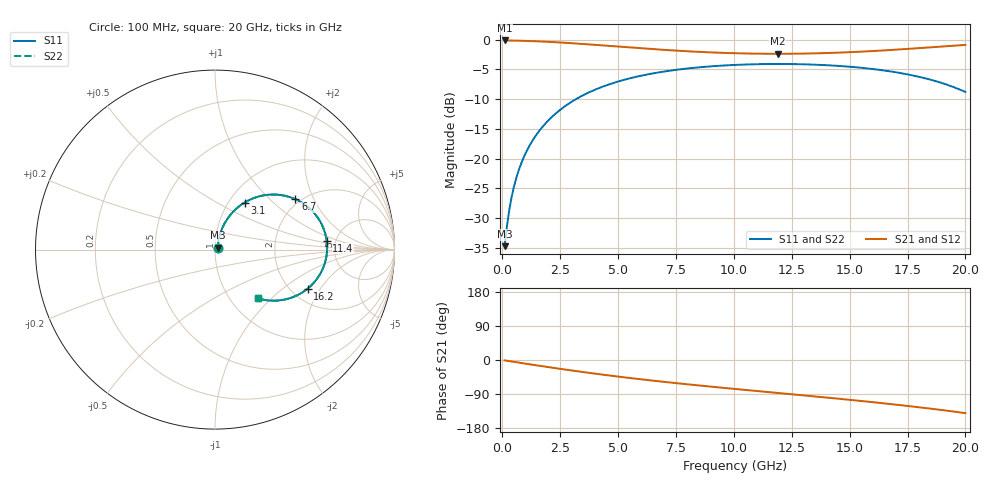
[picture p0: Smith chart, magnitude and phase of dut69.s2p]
! Touchstone file exported from HFSS 2026.1.0
!  File:  C:/ffzhzh/LocalFiles/Ansys_Project_Files/temp_train_TSV_RDL_69_1782969488_45308.aedt
!  Generated:  01:30:05 PM Jul  2, 2026
!  Design:  TSV_RDL
!  Project:  temp_train_TSV_RDL_69_1782969488_45308
! Variables:
!  h_bsmrdl = 2.56um
!  h_ox = 20um
!  h_rdl = 5um
!  h_sub = 90.95um
!  h_tmrdl = 4.26um
!  h_tsv = 90.95um
!  h_via = 3um
!  l_bsmrdl = 205.46um
!  l_sub = 2278.3um
!  l_tmrdl = 293.64um
!  m_sub = 200um
!  pitch = 57.45um
!  r_tsv = 7.46um
!  s_tmrdl = 10um
!  w_bsmrdl = 14.34um
!  w_sub = 500um
!  w_tmrdl = 14.78um
!  x_tsv_center1 = 301.03um
!  x_tsv_center2 = 520.83um
!  x_tsv_center3 = 829.25um
!  x_tsv_center4 = 1049.05um
!  x_tsv_center5 = 1357.47um
!  x_tsv_center6 = 1577.27um
# GHz S MA R 50.000000
! Terminal data exported
! Port[1] = TM_RDL1_1_T1
! Port[2] = TM_RDL5_1_T1
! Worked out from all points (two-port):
!   200 points, 100 MHz to 20 GHz, reference 50 ohm
!   highest |S21| = -0.13 dB at 100 MHz (marker M1); lowest = -2.4 dB at 11.9 GHz (marker M2)
!   |S21| within 3 dB of the highest: start of sweep to end of sweep
!   lowest |S11| = -34.7 dB at 100 MHz (marker M3), VSWR 1.04, Z = 51.5 + j1.14 ohm
!   |S11| at or under -10 dB: start of sweep to 3.183 GHz
!   |S22| runs from -34.7 to -4.1 dB; largest |S21 - S12| = 1.5e-14
!   S11 on the Smith chart (normalised r, x): 100 MHz: 1.03, +0.02; 3.1 GHz: 1.18, +0.68; 6.7 GHz: 1.88, +1.46; 11.4 GHz: 4.20, +0.69; 16.2 GHz: 2.45, -1.55; 20 GHz: 1.33, -0.84
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0.1  0.01833 37.3  0.9855 -1.0  0.9855 -1.0  0.01833 37.3
! Gamma 0 0 0 0
! Port Impedance 50 0 50 0
0.2  0.02691 55.1  0.9851 -2.0  0.9851 -2.0  0.02691 55.1
0.3  0.03683 63.2  0.9845 -2.9  0.9845 -2.9  0.03683 63.2
0.5  0.05762 69.6  0.983 -4.9  0.983 -4.9  0.05762 69.6
0.7  0.07869 71.5  0.9811 -6.8  0.9811 -6.8  0.07869 71.5
1  0.1101 71.7  0.9775 -9.6  0.9775 -9.6  0.1101 71.7
1.4  0.1513 70.1  0.9714 -13.4  0.9714 -13.4  0.1513 70.1
1.9  0.2009 66.9  0.9617 -18.0  0.9617 -18.0  0.2009 66.9
3.1  0.3094 57.9  0.9317 -28.6  0.9317 -28.6  0.3094 57.9
3.5  0.3417 54.8  0.9202 -31.9  0.9202 -31.9  0.3417 54.8
5  0.4448 43.6  0.8752 -43.8  0.8752 -43.8  0.4448 43.6
6.7  0.5288 32.1  0.8281 -55.8  0.8281 -55.8  0.5288 32.1
6.8  0.5328 31.4  0.8256 -56.5  0.8256 -56.5  0.5328 31.4
8.5  0.5859 21.0  0.79 -67.3  0.79 -67.3  0.5859 21.0
10.1  0.6144 11.8  0.7691 -76.7  0.7691 -76.7  0.6144 11.8
11.4  0.6242 4.6  0.7616 -84.2  0.7616 -84.2  0.6242 4.6
11.9  0.625 1.8  0.761 -87.0  0.761 -87.0  0.6251 1.8
13.4  0.6177 -6.5  0.7668 -95.6  0.7668 -95.6  0.6177 -6.5
16.2  0.5606 -22.8  0.8067 -112.5  0.8067 -112.5  0.5606 -22.8
16.7  0.5435 -25.9  0.8175 -115.8  0.8175 -115.8  0.5435 -25.9
18.5  0.4607 -37.8  0.8629 -128.4  0.8629 -128.4  0.4607 -37.8
20  0.3633 -48.5  0.9039 -140.2  0.9039 -140.2  0.3633 -48.5
